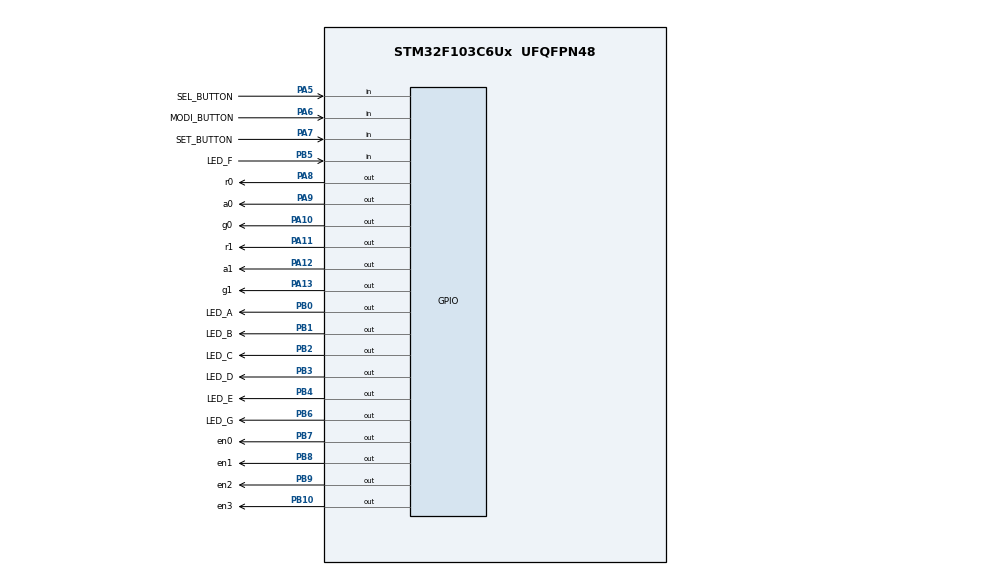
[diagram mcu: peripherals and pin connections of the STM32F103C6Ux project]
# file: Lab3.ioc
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Mcu.Family=STM32F1
Mcu.Name=STM32F103C6Ux
Mcu.Package=UFQFPN48
NVIC.PriorityGroup=NVIC_PRIORITYGROUP_4
NVIC.TIM2_IRQn=true\:0\:0\:false\:false\:true\:true\:true\:true
PA10.GPIO_Label=g0
PA10.Signal=GPIO_Output
PA11.GPIO_Label=r1
PA11.Signal=GPIO_Output
PA12.GPIO_Label=a1
PA12.Signal=GPIO_Output
PA13.GPIO_Label=g1
PA13.Signal=GPIO_Output
PA5.GPIO_Label=SEL_BUTTON
PA5.GPIO_PuPd=GPIO_PULLUP
PA5.Signal=GPIO_Input
PA6.GPIO_Label=MODI_BUTTON
PA6.GPIO_PuPd=GPIO_PULLUP
PA6.Signal=GPIO_Input
PA7.GPIO_Label=SET_BUTTON
PA7.GPIO_Mode=GPIO_MODE_INPUT
PA7.GPIO_PuPd=GPIO_PULLUP
PA7.Signal=GPIO_Input
PA8.GPIO_Label=r0
PA8.Signal=GPIO_Output
PA9.GPIO_Label=a0
PA9.Signal=GPIO_Output
PB0.GPIO_Label=LED_A
PB0.Signal=GPIO_Output
PB1.GPIO_Label=LED_B
PB1.Signal=GPIO_Output
PB10.GPIO_Label=en3
PB10.Signal=GPIO_Output
PB2.GPIO_Label=LED_C
PB2.Signal=GPIO_Output
PB3.GPIO_Label=LED_D
PB3.Signal=GPIO_Output
PB4.GPIO_Label=LED_E
PB4.Signal=GPIO_Output
PB5.GPIO_Label=LED_F
PB5.Signal=GPIO_Input
PB6.GPIO_Label=LED_G
PB6.Signal=GPIO_Output
PB7.GPIO_Label=en0
PB7.Signal=GPIO_Output
PB8.GPIO_Label=en1
PB8.Signal=GPIO_Output
PB9.GPIO_Label=en2
PB9.Signal=GPIO_Output
ProjectManager.HeapSize=0x200
ProjectManager.StackSize=0x400
ProjectManager.TargetToolchain=STM32CubeIDE
RCC.APB1Freq_Value=8000000
RCC.APB2Freq_Value=8000000
TIM2.Period=9
TIM2.Prescaler=7999
VP_TIM2_VS_ClockSourceINT.Mode=Internal
board=custom

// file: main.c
/* USER CODE BEGIN Header */
/**
  ******************************************************************************
  * @file           : main.c
  * @brief          : Main program body
  ******************************************************************************
  * @attention
  *
  * Copyright (c) 2022 STMicroelectronics.
  * All rights reserved.
  *
  * This software is licensed under terms that can be found in the LICENSE file
  * in the root directory of this software component.
  * If no LICENSE file comes with this software, it is provided AS-IS.
  *
  ******************************************************************************
  */
/* USER CODE END Header */
#include "main.h"

/* USER CODE BEGIN Includes */
#include "input_reading.h"
#include "fsm_mode.h"
#include "global.h"
#include "led_7_seg.h"
#include "timer.h"
#include "led.h"
/* USER CODE END Includes */

TIM_HandleTypeDef htim2;

void SystemClock_Config(void);
static void MX_GPIO_Init(void);
static void MX_TIM2_Init(void);

int main(void)
{

  /* MCU Configuration--------------------------------------------------------*/

  /* Reset of all peripherals, Initializes the Flash interface and the Systick. */
  HAL_Init();

  /* Configure the system clock */
  SystemClock_Config();

  /* Initialize all configured peripherals */
  MX_GPIO_Init();
  MX_TIM2_Init();
  /* USER CODE BEGIN 2 */
  HAL_TIM_Base_Start_IT(& htim2);

  uint8_t index_led7Seg = 0;
//  Traffic_Light_Run();

  init_fsm_mode();

  SetTimer_0(10);
  SetTimer_1(1000); //timer for traffic light
  SetTimer_2(50);	//timer for update 4 7segleds
  SetTimer_3(500);  //timer for blink led with 2Hz frequency
  /* USER CODE END 2 */

  /* Infinite loop */
  /* USER CODE BEGIN WHILE */
  while (1)
  {
	  if(FlagTimer_0()){
	  		  SetTimer_0(10);
	  		  fsm_mode();
	  }

	  if(FlagTimer_1()){
		  SetTimer_1(1000);
		  if(isLightNormal()) Traffic_Light_Run();

	  }
	  if(FlagTimer_2()){
		  SetTimer_2(50);
		  if(index_led7Seg >= 4) index_led7Seg = 0;
		  Update7Seg(index_led7Seg++);
	  }
	  if(FlagTimer_3()){
		  SetTimer_3(500);
		  if(isBlinkRed()) Blink_Red();
		  else if(isBlinkAmber()) Blink_Amber();
		  else if(isBlinkGreen()) Blink_Green();
	  }
    /* USER CODE END WHILE */

  }
}

void SystemClock_Config(void)
{
  RCC_OscInitTypeDef RCC_OscInitStruct = {0};
  RCC_ClkInitTypeDef RCC_ClkInitStruct = {0};

  /** Initializes the RCC Oscillators according to the specified parameters
  * in the RCC_OscInitTypeDef structure.
  */
  RCC_OscInitStruct.OscillatorType = RCC_OSCILLATORTYPE_HSI;
  RCC_OscInitStruct.HSIState = RCC_HSI_ON;
  RCC_OscInitStruct.HSICalibrationValue = RCC_HSICALIBRATION_DEFAULT;
  RCC_OscInitStruct.PLL.PLLState = RCC_PLL_NONE;
  if (HAL_RCC_OscConfig(&RCC_OscInitStruct) != HAL_OK)
  {
    Error_Handler();
  }

  /** Initializes the CPU, AHB and APB buses clocks
  */
  RCC_ClkInitStruct.ClockType = RCC_CLOCKTYPE_HCLK|RCC_CLOCKTYPE_SYSCLK
                              |RCC_CLOCKTYPE_PCLK1|RCC_CLOCKTYPE_PCLK2;
  RCC_ClkInitStruct.SYSCLKSource = RCC_SYSCLKSOURCE_HSI;
  RCC_ClkInitStruct.AHBCLKDivider = RCC_SYSCLK_DIV1;
  RCC_ClkInitStruct.APB1CLKDivider = RCC_HCLK_DIV1;
  RCC_ClkInitStruct.APB2CLKDivider = RCC_HCLK_DIV1;

  if (HAL_RCC_ClockConfig(&RCC_ClkInitStruct, FLASH_LATENCY_0) != HAL_OK)
  {
    Error_Handler();
  }
}

static void MX_TIM2_Init(void)
{

  TIM_ClockConfigTypeDef sClockSourceConfig = {0};
  TIM_MasterConfigTypeDef sMasterConfig = {0};

  htim2.Instance = TIM2;
  htim2.Init.Prescaler = 7999;
  htim2.Init.CounterMode = TIM_COUNTERMODE_UP;
  htim2.Init.Period = 9;
  htim2.Init.ClockDivision = TIM_CLOCKDIVISION_DIV1;
  htim2.Init.AutoReloadPreload = TIM_AUTORELOAD_PRELOAD_DISABLE;
  if (HAL_TIM_Base_Init(&htim2) != HAL_OK)
  {
    Error_Handler();
  }
  sClockSourceConfig.ClockSource = TIM_CLOCKSOURCE_INTERNAL;
  if (HAL_TIM_ConfigClockSource(&htim2, &sClockSourceConfig) != HAL_OK)
  {
    Error_Handler();
  }
  sMasterConfig.MasterOutputTrigger = TIM_TRGO_RESET;
  sMasterConfig.MasterSlaveMode = TIM_MASTERSLAVEMODE_DISABLE;
  if (HAL_TIMEx_MasterConfigSynchronization(&htim2, &sMasterConfig) != HAL_OK)
  {
    Error_Handler();
  }

}

static void MX_GPIO_Init(void)
{
  GPIO_InitTypeDef GPIO_InitStruct = {0};

  /* GPIO Ports Clock Enable */
  __HAL_RCC_GPIOA_CLK_ENABLE();
  __HAL_RCC_GPIOB_CLK_ENABLE();

  /*Configure GPIO pin Output Level */
  HAL_GPIO_WritePin(GPIOB, LED_A_Pin|LED_B_Pin|LED_C_Pin|en3_Pin
                          |LED_D_Pin|LED_E_Pin|LED_G_Pin|en0_Pin
                          |en1_Pin|en2_Pin, GPIO_PIN_RESET);

  /*Configure GPIO pin Output Level */
  HAL_GPIO_WritePin(GPIOA, r0_Pin|a0_Pin|g0_Pin|r1_Pin
                          |a1_Pin|g1_Pin, GPIO_PIN_RESET);

  /*Configure GPIO pins : SEL_BUTTON_Pin MODI_BUTTON_Pin SET_BUTTON_Pin */
  GPIO_InitStruct.Pin = SEL_BUTTON_Pin|MODI_BUTTON_Pin|SET_BUTTON_Pin;
  GPIO_InitStruct.Mode = GPIO_MODE_INPUT;
  GPIO_InitStruct.Pull = GPIO_PULLUP;
  HAL_GPIO_Init(GPIOA, &GPIO_InitStruct);

  /*Configure GPIO pins : LED_A_Pin LED_B_Pin LED_C_Pin en3_Pin
                           LED_D_Pin LED_E_Pin LED_G_Pin en0_Pin
                           en1_Pin en2_Pin */
  GPIO_InitStruct.Pin = LED_A_Pin|LED_B_Pin|LED_C_Pin|en3_Pin
                          |LED_D_Pin|LED_E_Pin|LED_G_Pin|en0_Pin
                          |en1_Pin|en2_Pin;
  GPIO_InitStruct.Mode = GPIO_MODE_OUTPUT_PP;
  GPIO_InitStruct.Pull = GPIO_NOPULL;
  GPIO_InitStruct.Speed = GPIO_SPEED_FREQ_LOW;
  HAL_GPIO_Init(GPIOB, &GPIO_InitStruct);

  /*Configure GPIO pins : r0_Pin a0_Pin g0_Pin r1_Pin
                           a1_Pin g1_Pin */
  GPIO_InitStruct.Pin = r0_Pin|a0_Pin|g0_Pin|r1_Pin
                          |a1_Pin|g1_Pin;
  GPIO_InitStruct.Mode = GPIO_MODE_OUTPUT_PP;
  GPIO_InitStruct.Pull = GPIO_NOPULL;
  GPIO_InitStruct.Speed = GPIO_SPEED_FREQ_LOW;
  HAL_GPIO_Init(GPIOA, &GPIO_InitStruct);

  /*Configure GPIO pin : LED_F_Pin */
  GPIO_InitStruct.Pin = LED_F_Pin;
  GPIO_InitStruct.Mode = GPIO_MODE_INPUT;
  GPIO_InitStruct.Pull = GPIO_NOPULL;
  HAL_GPIO_Init(LED_F_GPIO_Port, &GPIO_InitStruct);

}

void Error_Handler(void)
{
  __disable_irq();
  while (1)
  {
  }
}
